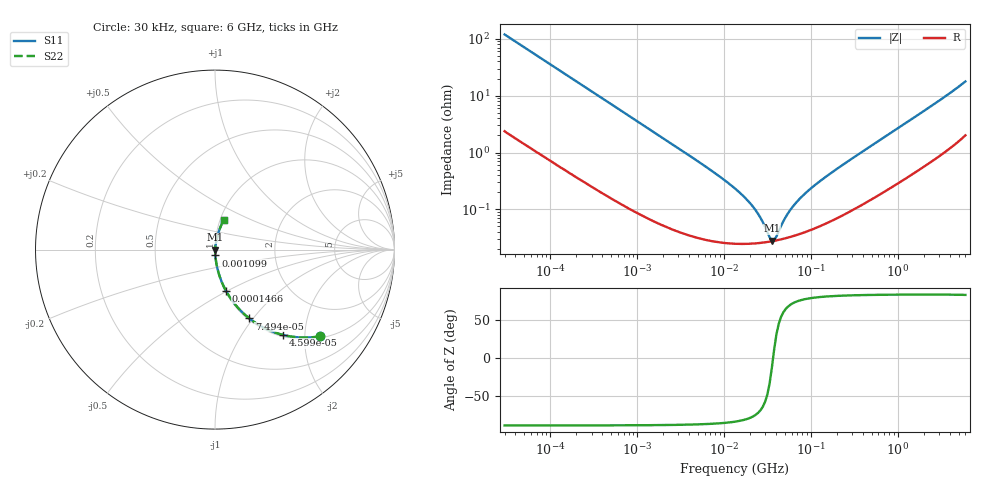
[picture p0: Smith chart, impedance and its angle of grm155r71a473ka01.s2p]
!Murata Part Number:GRM155R71A473KA01
!These Parameters are Measured in Series Mode Connection
!  o--ll--o
!Port1  Port2
!  o------o
!Operation Temp=25[C], DC Bias Voltage=0[V]
!Freq. Start=30[kHz] Stop=6[GHz], 201[Steps]
# Hz S DB R 50
!Freq.[Hz] MagS11[dB] PhaseS11[DEG] MagS21[dB] PhaseS21[DEG] MagS12[dB] PhaseS12[DEG] MagS22[dB] PhaseS22[DEG]
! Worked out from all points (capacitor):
!   201 points, 30 kHz to 6 GHz, reference 50 ohm
!   read as one part in series: C = 44.4 nF near 31.89 kHz
!   lowest |Z| = 28.2 mohm at 35.62 MHz (marker M1)
!   series resonance near 36.79 MHz, so ESL is about 420 pH
!   S11 on the Smith chart (normalised r, x): 30 kHz: 1.05, -2.39; 45.99 kHz: 1.03, -1.56; 74.94 kHz: 1.02, -0.96; 146.6 kHz: 1.01, -0.49; 1.099 MHz: 1.00, -0.07; 6 GHz: 1.04, +0.35
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30000  -2.39 -39.5  -3.94 49.4  -3.94 49.4  -2.39 -39.5
45989  -4.31 -51.4  -2.15 37.5  -2.15 37.5  -4.31 -51.4
74937  -7.37 -63.5  -0.96 25.4  -0.96 25.4  -7.37 -63.5
146641  -12.53 -75.2  -0.29 13.7  -0.29 13.7  -12.53 -75.2
238944  -16.60 -80.3  -0.12 8.5  -0.12 8.5  -16.60 -80.3
1098816  -29.75 -86.7  -0.01 1.9  -0.01 1.9  -29.75 -86.7
1790467  -33.99 -87.3  -0.01 1.1  -0.01 1.1  -33.99 -87.3
6450219  -45.36 -86.7  -0.00 0.3  -0.00 0.3  -45.36 -86.7
1.341641e7  -52.66 -83.8  -0.00 0.1  -0.00 0.1  -52.66 -83.8
1.82038e7  -56.44 -80.5  -0.00 0.1  -0.00 0.1  -56.44 -80.5
2.323714e7  -60.35 -74.7  -0.00 0.1  -0.00 0.1  -60.35 -74.7
2.790603e7  -64.39 -64.5  -0.00 0.0  -0.00 0.0  -64.39 -64.5
3.562203e7  -71.01 -12.7  -0.00 0.0  -0.00 0.0  -71.01 -12.7
3.786377e7  -70.89 11.6  -0.00 -0.0  -0.00 -0.0  -70.89 11.6
4.833307e7  -64.16 60.6  -0.00 -0.0  -0.00 -0.0  -64.16 60.6
6.169714e7  -59.12 72.3  -0.00 -0.1  -0.00 -0.1  -59.12 72.3
7.875635e7  -55.51 76.8  -0.00 -0.1  -0.00 -0.1  -55.51 76.8
1.068591e8  -51.91 79.6  -0.00 -0.1  -0.00 -0.1  -51.91 79.6
2.222661e8  -44.76 82.2  -0.01 -0.3  -0.01 -0.3  -44.76 82.2
8.007212e8  -33.43 82.6  -0.02 -1.2  -0.02 -1.2  -33.43 82.6
2.71384e9  -22.72 79.8  -0.09 -4.2  -0.09 -4.2  -22.72 79.8
6e9  -15.29 73.7  -0.30 -9.8  -0.30 -9.8  -15.29 73.7
